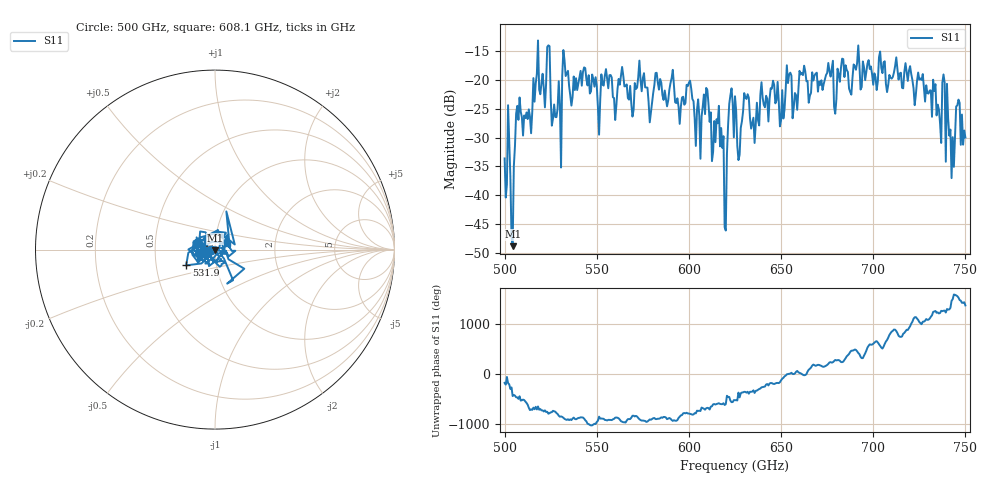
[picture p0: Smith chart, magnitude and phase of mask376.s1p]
!Created with skrf (http://scikit-rf.org).
# GHz S MA R 50.0
!freq magS11 angS11
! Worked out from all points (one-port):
!   401 points, 500 GHz to 750 GHz, reference 50 ohm
!   lowest |S11| = -48.9 dB at 504.4 GHz (marker M1), VSWR 1.01, Z = 50.1 - j0.353 ohm
!   |S11| at or under -10 dB: start of sweep to end of sweep
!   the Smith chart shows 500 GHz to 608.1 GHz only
!   S11 on the Smith chart (normalised r, x): 500 GHz: 0.96, -0.00; 531.9 GHz: 0.71, -0.13; 608.1 GHz: 1.14, +0.08
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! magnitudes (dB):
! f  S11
! 500 GHz  -33.6
! 504.4 GHz  -48.9
! 507.5 GHz  -26.9
! 513.8 GHz  -26.3
! 516.9 GHz  -20.6
! 523.8 GHz  -13.9
! 526.9 GHz  -24.2
! 531.2 GHz  -19.3
! 531.9 GHz  -14.7
! 562.5 GHz  -20.8
! 593.8 GHz  -23.1
! 608.1 GHz  -22.5
! 617.5 GHz  -28.3
! 619.4 GHz  -45.6
! 622.5 GHz  -22.6
! 625 GHz  -22.8
! 627.5 GHz  -33.0
! 631.2 GHz  -23.3
! 635 GHz  -26.5
! 645 GHz  -21.5
! 656.2 GHz  -26.6
! 687.5 GHz  -22.0
! 718.8 GHz  -20.1
! 735.6 GHz  -25.1
! 738.8 GHz  -20.4
! 742.5 GHz  -37.0
! 745.6 GHz  -24.4
! 750 GHz  -30.0
